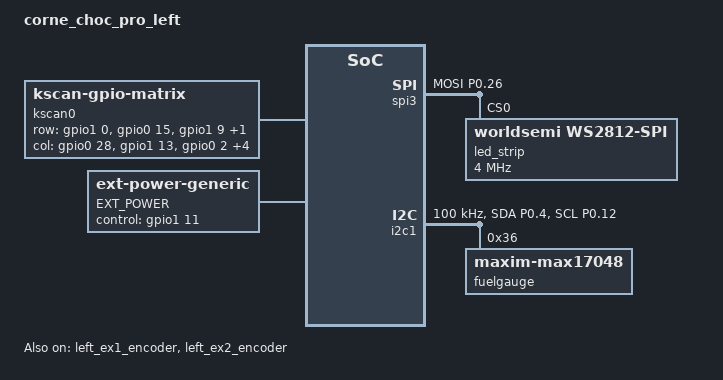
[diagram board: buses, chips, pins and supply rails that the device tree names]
/*
* Copyright (c) 2020 The ZMK Contributors
*
* SPDX-License-Identifier: MIT
*/

#include "corne_choc_pro.dtsi"
#include <dt-bindings/led/led.h>

/ {
    model = "corne_choc_pro_left";
    compatible = "corne_choc_pro_left";

    chosen {
        zmk,battery = &fuelgauge;
        zmk,underglow = &led_strip;
    };

    kscan0: kscan {
        compatible = "zmk,kscan-gpio-matrix";
        diode-direction = "col2row";
        row-gpios
            = <&gpio1   0 (GPIO_ACTIVE_HIGH | GPIO_PULL_DOWN)>
            , <&gpio0  15 (GPIO_ACTIVE_HIGH | GPIO_PULL_DOWN)>
            , <&gpio1   9 (GPIO_ACTIVE_HIGH | GPIO_PULL_DOWN)>
            , <&gpio1  10 (GPIO_ACTIVE_HIGH | GPIO_PULL_DOWN)>
        ;
        col-gpios
            = <&gpio0 28 GPIO_ACTIVE_HIGH>
            , <&gpio1 13 GPIO_ACTIVE_HIGH>
            , <&gpio0  2 GPIO_ACTIVE_HIGH>
            , <&gpio0  5 GPIO_ACTIVE_HIGH>
            , <&gpio0 22 GPIO_ACTIVE_HIGH>
            , <&gpio0  3 GPIO_ACTIVE_HIGH>
            , <&gpio0 13 GPIO_ACTIVE_HIGH>
        ;
        wakeup-source;
    };

    // Node name must match original "EXT_POWER" label to preserve user settings.
    EXT_POWER {
        compatible = "zmk,ext-power-generic";
        control-gpios = <&gpio1 11 GPIO_ACTIVE_HIGH>;
        init-delay-ms = <50>;
    };
};

&left_ex1_encoder {
    status = "okay";
};

&left_ex2_encoder {
    status = "okay";
};

&pinctrl {
    i2c1_default: i2c1_default {
        group1 {
            psels = <NRF_PSEL(TWIM_SDA, 0, 4)>,
                <NRF_PSEL(TWIM_SCL, 0, 12)>;
        };
    };

    i2c1_sleep: i2c1_sleep {
        group1 {
            psels = <NRF_PSEL(TWIM_SDA, 0, 4)>,
                <NRF_PSEL(TWIM_SCL, 0, 12)>;
            low-power-enable;
        };
    };

    spi3_default: spi3_default {
        group1 {
            psels = <NRF_PSEL(SPIM_MOSI, 0, 26)>;
        };
    };

    spi3_sleep: spi3_sleep {
        group1 {
            psels = <NRF_PSEL(SPIM_MOSI, 0, 26)>;
            low-power-enable;
        };  
    };
};

&spi3 {
    compatible = "nordic,nrf-spim";
    status = "okay";

    pinctrl-0 = <&spi3_default>;
    pinctrl-1 = <&spi3_sleep>;
    pinctrl-names = "default", "sleep";

    led_strip: ws2812@0 {
        compatible = "worldsemi,ws2812-spi";

        /* SPI */
        reg = <0>; /* ignored, but necessary for SPI bindings */
        spi-max-frequency = <4000000>;

        /* WS2812 */
        chain-length = <23>; /* number of LEDs */
        spi-one-frame = <0x70>;
        spi-zero-frame = <0x40>;
        color-mapping = <LED_COLOR_ID_GREEN
            LED_COLOR_ID_RED
            LED_COLOR_ID_BLUE>;
    };
};

&i2c1 {
    status = "okay";
    compatible = "nordic,nrf-twim";
    pinctrl-0 = <&i2c1_default>;
    pinctrl-1 = <&i2c1_sleep>;
    pinctrl-names = "default", "sleep";
    clock-frequency = <100000>;

    fuelgauge: max17048@36 {
        compatible = "zmk,maxim-max17048";
        reg = <0x36>;
    };
};
